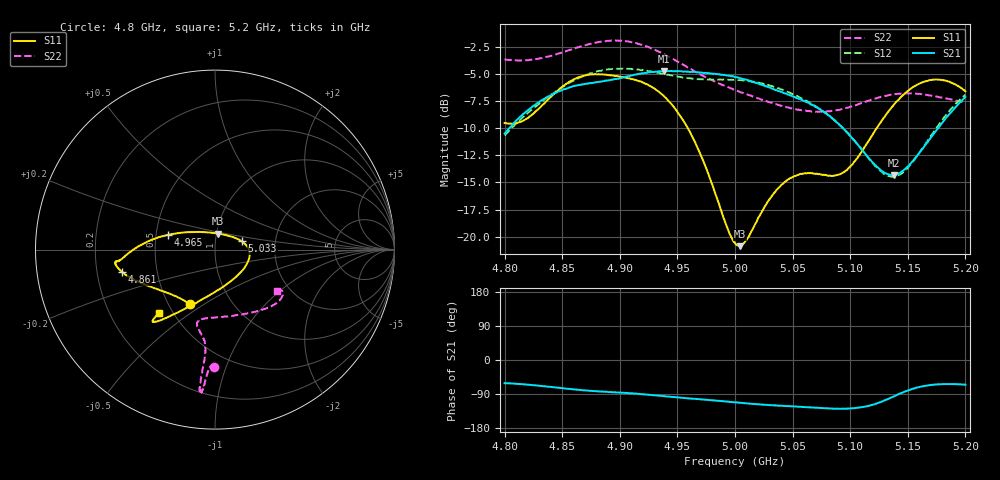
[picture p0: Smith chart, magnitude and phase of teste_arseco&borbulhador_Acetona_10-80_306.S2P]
! Network Analyzer HP8722D
! Hewlett-Packard
! Data name: Linha & Wilkinson
! Saver's name: Rodrigo Anjos
! Comments: Teste da utilização de aquisição
! continua pelo VNA HP8722D
! Time and date: 17/4/2025 16:54
!  Frequency  S11  S21  S12  S22
# HZ  S  MA R 50
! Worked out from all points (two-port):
!   401 points, 4.8 GHz to 5.2 GHz, reference 50 ohm
!   highest |S21| = -4.71 dB at 4.938 GHz (marker M1); lowest = -14.3 dB at 5.138 GHz (marker M2)
!   |S21| within 3 dB of the highest: 4.828 GHz to 5.065 GHz (236.5 MHz wide, 4.78 % of centre); 5.194378 GHz to end of sweep
!   lowest |S11| = -20.9 dB at 5.004 GHz (marker M3), VSWR 1.20, Z = 50.6 + j9.11 ohm
!   |S11| at or under -10 dB: 4.959 GHz to 5.123 GHz (163.9 MHz wide, 3.25 % of centre)
!   |S22| runs from -8.5 to -1.9 dB; largest |S21 - S12| = 0.87
!   S11 on the Smith chart (normalised r, x): 4.8 GHz: 0.64, -0.44; 4.861 GHz: 0.31, -0.11; 4.965 GHz: 0.58, +0.10; 5.033 GHz: 1.35, +0.13; 5.2 GHz: 0.42, -0.38
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4.8e9  0.3345 -114.6  0.2986 -61.2  0.2928 -175.5  0.6565 -90.4
4.819e9  0.3499 -134.7  0.3786 -64.8  0.3666 -174.2  0.651 -92.1
4.861e9  0.5338 -166.6  0.4956 -77.8  0.5266 -177.8  0.7377 -94.3
4.867e9  0.5482 -169.0  0.5028 -79.7  0.5453 -178.8  0.7552 -94.5
4.9e9  0.5475 -173.3  0.5376 -86.0  0.5944 174.8  0.8 -95.9
4.934e9  0.4656 -179.1  0.5787 -94.2  0.57 171.3  0.7113 -96.3
4.938e9  0.4466 179.3  0.5814 -95.3  0.5623 171.1  0.696 -96.0
4.952e9  0.3636 171.8  0.5789 -99.3  0.5455 171.8  0.6329 -95.6
4.965e9  0.2749 162.7  0.5754 -102.6  0.5337 173.2  0.5777 -95.5
5e9  0.09354 95.7  0.5443 -111.9  0.5289 175.6  0.4744 -99.4
5.004e9  0.09041 80.9  0.5389 -112.9  0.5274 175.5  0.4655 -100.2
5.011e9  0.09832 56.8  0.5272 -114.7  0.5228 175.3  0.4517 -101.8
5.033e9  0.1566 17.0  0.481 -119.3  0.4925 174.2  0.4112 -103.4
5.049e9  0.187 1.0  0.4456 -122.1  0.4571 173.6  0.3905 -99.5
5.067e9  0.1962 -18.2  0.4062 -125.5  0.4093 173.1  0.3782 -89.9
5.096e9  0.2011 -68.7  0.3071 -128.4  0.3077 174.6  0.3915 -67.3
5.121e9  0.3043 -108.0  0.2156 -116.9  0.214 -171.6  0.4324 -49.8
5.134e9  0.3823 -118.3  0.1932 -101.4  0.1899 -154.5  0.4501 -43.1
5.138e9  0.4068 -120.5  0.1924 -95.7  0.1893 -148.0  0.4528 -41.4
5.151e9  0.4739 -126.1  0.2132 -79.4  0.2108 -128.9  0.4579 -36.7
5.17e9  0.5275 -130.2  0.2857 -66.1  0.2917 -112.1  0.4477 -32.4
5.2e9  0.4682 -131.5  0.4405 -65.3  0.4517 -107.3  0.4157 -33.9
